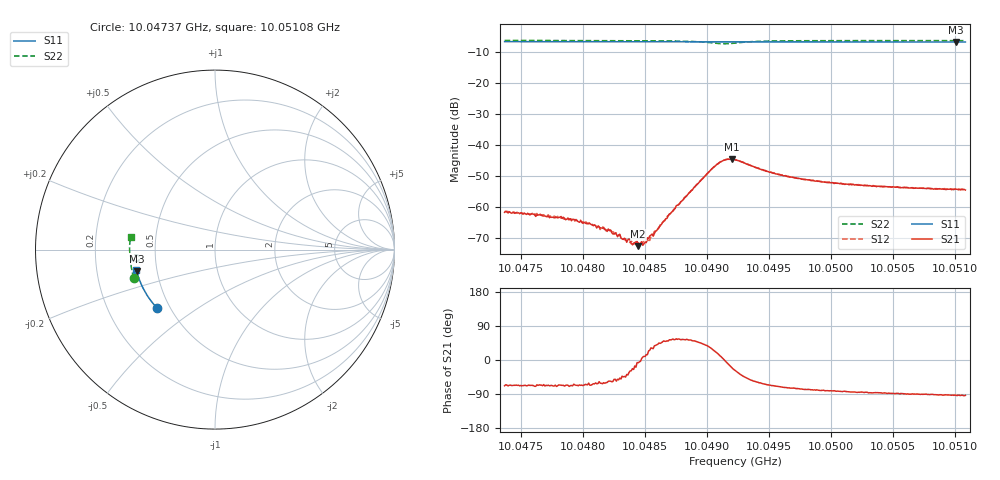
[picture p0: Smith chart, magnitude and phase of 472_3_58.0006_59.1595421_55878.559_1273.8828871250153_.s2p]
#  HZ  S  RI  R  50.00
! Rohde & Schwarz Vector Network Analyzer
! Rohde-Schwarz,ZNB20-2Port,1311601062101988,3.16
! Created: UTC 3/21/2024, 1:11:25 AM
! freq[Hz]  re:S11  im:S11  re:S21  im:S21  re:S12  im:S12  re:S22  im:S22
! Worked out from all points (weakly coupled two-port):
!   401 points, 10.04737 GHz to 10.05108 GHz, reference 50 ohm
!   highest |S21| = -44.60 dB at 10.0492 GHz (marker M1); lowest = -72.6 dB at 10.04845 GHz (marker M2)
!   lowest |S11| = -6.9 dB at 10.05101 GHz (marker M3), VSWR 2.65, Z = 19.2 - j5.75 ohm
!   |S11| at or under -10 dB: nowhere
!   |S22| runs from -7.5 to -6.4 dB; largest |S21 - S12| = 0.00042
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1.0047369e10  -0.322 -0.3265  0.000307 -0.000765  0.00037 -0.000764  -0.4523 -0.1581
1.0047824e10  -0.342 -0.3038  0.000278 -0.000648  0.000316 -0.000582  -0.4606 -0.1276
1.0047992e10  -0.3492 -0.2953  0.00023 -0.000522  0.000272 -0.000495  -0.4632 -0.1163
1.0048224e10  -0.3585 -0.2832  0.00024 -0.000355  0.000242 -0.000344  -0.4662 -0.0996
1.0048326e10  -0.3624 -0.2777  0.000216 -0.000212  0.000218 -0.000213  -0.4672 -0.0919
1.00484e10  -0.3653 -0.2738  0.000233 -9.79e-05  0.000229 -9.17e-05  -0.4679 -0.0859
1.0048447e10  -0.3671 -0.2714  0.000233 -2.97e-05  0.000262 -3.25e-05  -0.468 -0.0822
1.0048493e10  -0.3687 -0.2687  0.000254 4.4e-05  0.000279 6.75e-05  -0.4681 -0.0785
1.0048521e10  -0.3698 -0.2673  0.00031 7.9e-05  0.000302 0.000114  -0.4682 -0.0763
1.004854e10  -0.3706 -0.2664  0.00031 0.000149  0.000239 0.000165  -0.4682 -0.0747
1.0048586e10  -0.3722 -0.2637  0.00032 0.000256  0.000299 0.00029  -0.4682 -0.0707
1.0048614e10  -0.3732 -0.2622  0.000329 0.000329  0.000321 0.000355  -0.4681 -0.0681
1.0048753e10  -0.3781 -0.2545  0.000587 0.000869  0.000543 0.000849  -0.4663 -0.0549
1.0049041e10  -0.3877 -0.2381  0.00361 0.00201  0.00349 0.00223  -0.4373 -0.0289
1.0049125e10  -0.3901 -0.2335  0.00549 0.000515  0.00548 0.000816  -0.4216 -0.0406
1.0049199e10  -0.3923 -0.2294  0.00556 -0.00195  0.0057 -0.00163  -0.4246 -0.0597
1.0049227e10  -0.3934 -0.2279  0.00511 -0.00266  0.0053 -0.00237  -0.4298 -0.064
1.0049543e10  -0.4033 -0.2096  0.00129 -0.00324  0.0015 -0.0032  -0.4685 -0.0438
1.0049849e10  -0.4118 -0.1913  0.00053 -0.00262  0.000681 -0.00262  -0.4747 -0.0165
1.0050472e10  -0.4264 -0.1533  8.32e-05 -0.00212  0.000199 -0.00212  -0.4753 0.0294
1.005101e10  -0.4362 -0.1194  -0.000116 -0.00193  3.99e-07 -0.00192  -0.4714 0.0662
1.0051085e10  -0.4374 -0.1148  -0.000111 -0.00188  -3.49e-05 -0.00192  -0.4707 0.0712
